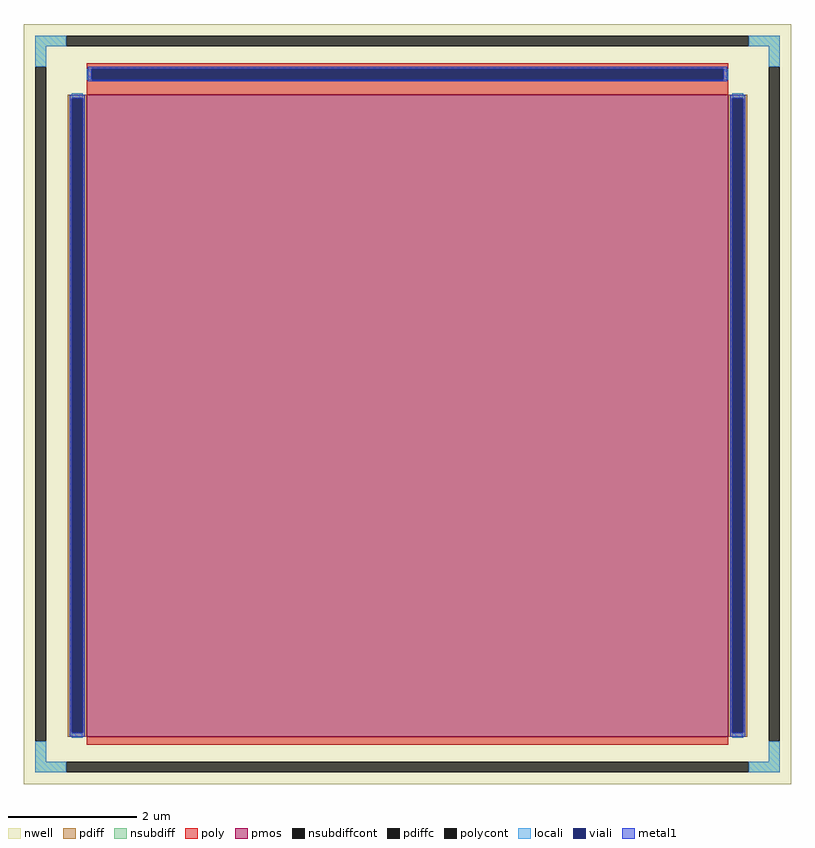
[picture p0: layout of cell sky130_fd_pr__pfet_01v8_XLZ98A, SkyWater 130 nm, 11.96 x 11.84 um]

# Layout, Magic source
magic
tech sky130A
magscale 1 2
<< nwell >>
rect -1196 -1184 1196 1184
<< pmos >>
rect -1000 -1036 1000 964
<< pdiff >>
rect -1058 952 -1000 964
rect -1058 -1024 -1046 952
rect -1012 -1024 -1000 952
rect -1058 -1036 -1000 -1024
rect 1000 952 1058 964
rect 1000 -1024 1012 952
rect 1046 -1024 1058 952
rect 1000 -1036 1058 -1024
<< pdiffc >>
rect -1046 -1024 -1012 952
rect 1012 -1024 1046 952
<< nsubdiff >>
rect -1160 1114 -1064 1148
rect 1064 1114 1160 1148
rect -1160 1051 -1126 1114
rect 1126 1051 1160 1114
rect -1160 -1114 -1126 -1051
rect 1126 -1114 1160 -1051
rect -1160 -1148 -1064 -1114
rect 1064 -1148 1160 -1114
<< nsubdiffcont >>
rect -1064 1114 1064 1148
rect -1160 -1051 -1126 1051
rect 1126 -1051 1160 1051
rect -1064 -1148 1064 -1114
<< poly >>
rect -1000 1045 1000 1061
rect -1000 1011 -984 1045
rect 984 1011 1000 1045
rect -1000 964 1000 1011
rect -1000 -1062 1000 -1036
<< polycont >>
rect -984 1011 984 1045
<< locali >>
rect -1160 1114 -1064 1148
rect 1064 1114 1160 1148
rect -1160 1051 -1126 1114
rect 1126 1051 1160 1114
rect -1000 1011 -984 1045
rect 984 1011 1000 1045
rect -1046 952 -1012 968
rect -1046 -1040 -1012 -1024
rect 1012 952 1046 968
rect 1012 -1040 1046 -1024
rect -1160 -1114 -1126 -1051
rect 1126 -1114 1160 -1051
rect -1160 -1148 -1064 -1114
rect 1064 -1148 1160 -1114
<< viali >>
rect -984 1011 984 1045
rect -1046 -1024 -1012 952
rect 1012 -1024 1046 952
<< metal1 >>
rect -996 1045 996 1051
rect -996 1011 -984 1045
rect 984 1011 996 1045
rect -996 1005 996 1011
rect -1052 952 -1006 964
rect -1052 -1024 -1046 952
rect -1012 -1024 -1006 952
rect -1052 -1036 -1006 -1024
rect 1006 952 1052 964
rect 1006 -1024 1012 952
rect 1046 -1024 1052 952
rect 1006 -1036 1052 -1024
<< properties >>
string FIXED_BBOX -1143 -1131 1143 1131
string gencell sky130_fd_pr__pfet_01v8
string library sky130
string parameters w 10.0 l 10.0 m 1 nf 1 diffcov 100 polycov 100 guard 1 glc 1 grc 1 gtc 1 gbc 1 tbcov 100 rlcov 100 topc 1 botc 0 poverlap 0 doverlap 1 lmin 0.15 wmin 0.42 compatible {sky130_fd_pr__pfet_01v8  sky130_fd_pr__pfet_01v8_lvt sky130_fd_pr__pfet_01v8_hvt  sky130_fd_pr__pfet_g5v0d10v5} full_metal 1 viasrc 100 viadrn 100 viagate 100 viagb 0 viagr 0 viagl 0 viagt 0
<< end >>
